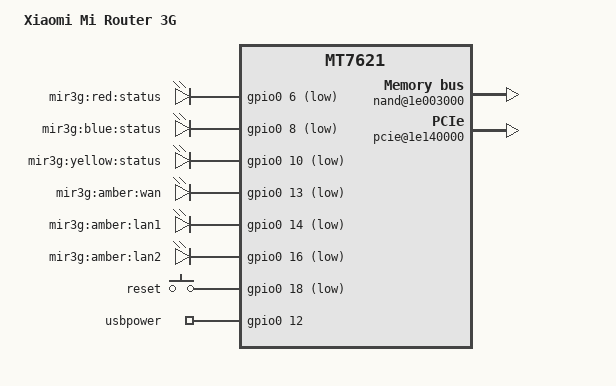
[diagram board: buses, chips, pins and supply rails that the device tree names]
/dts-v1/;

/include/ "mt7621.dtsi"

/ {
	compatible = "mir3g", "mediatek,mt7621-soc";
	model = "Xiaomi Mi Router 3G";

	palmbus@1E000000 {
		spi@b00 {
			status="disabled";
		};
	};

	chosen {
		bootargs = "console=ttyS0,115200";
	};

	nand@1e003000 {
		status = "okay";

		partition@0 {
			label = "Bootloader";
			reg = <0x0 0x80000>;
		};

		partition@80000 {
			label = "Config";
			reg = <0x80000 0x40000>;
		};

		partition@c0000 {
			label = "Bdata";
			reg = <0xc0000 0x40000>;
			read-only;
		};

		factory: partition@100000 {
			label = "factory";
			reg = <0x100000 0x40000>;
			read-only;
		};

		partition@140000 {
			label = "crash";
			reg = <0x140000 0x40000>;
		};

		partition@180000 {
			label = "crash_syslog";
			reg = <0x180000 0x40000>;
		};

		partition@1c0000 {
			label = "reserved0";
			reg = <0x1c0000 0x40000>;
			read-only;
		};


		/* uboot expects to find kernels at 0x200000 & 0x600000
		 * referred to as system 1 & system 2 respectively.
		 * a kernel is considered suitable for handing control over
		 * if its linux magic number exists & uImage CRC are correct.
		 * If either of those conditions fail, a matching sys'n'_fail flag
		 * is set in uboot env & a restart performed in the hope that the
		 * alternate kernel is okay.
		 * if neither kernel checksums ok and both are marked failed, system 2
		 * is booted anyway.
		 *
		 * Note uboot's tftp flash install writes the transferred
		 * image to both kernel partitions.
		 */

		partition@200000 {
			label = "kernel_stock";
			reg = <0x200000 0x400000>;
		};

		partition@600000 {
			label = "kernel";
			reg = <0x600000 0x400000>;
		};

		/* ubi partition is the result of squashing
		 * next consecutive stock partitions:
		 * - rootfs0 (rootfs partition for stock kernel0),
		 * - rootfs1 (rootfs partition for stock failsafe kernel1),
		 * - overlay (used as ubi overlay in stock fw)
		 * resulting 117,5MiB space for packages.
		 */

		partition@a00000 {
			label = "ubi";
			reg = <0xa00000 0x7580000>;
		};
	};

	pcie@1e140000 {
		status = "okay";

		pcie0 {
			mt76@0,0 {
				reg = <0x0000 0 0 0 0>;
				device_type = "pci";
				mediatek,mtd-eeprom = <&factory 0x0000>;
				mediatek,2ghz = <0>;
			};
		};

		pcie1 {
			mt76@1,0 {
				reg = <0x0000 0 0 0 0>;
				device_type = "pci";
				mediatek,mtd-eeprom = <&factory 0x8000>;
				mediatek,5ghz = <0>;
			};
		};
	};

	ethernet@1e100000 {
		mtd-mac-address = <&factory 0xe000>;
		mediatek,portmap = "lwlll";
	};	

	gpio-leds {
		compatible = "gpio-leds";

		led_status_red: status_red {
			label = "mir3g:red:status";
			gpios = <&gpio0 6 1>;
		};

		led_status_blue: status_blue {
			label = "mir3g:blue:status";
			gpios = <&gpio0 8 1>;
		};

		led_status_yellow: status_yellow {
			label = "mir3g:yellow:status";
			gpios = <&gpio0 10 1>;
		};

		wan_amber {
			label = "mir3g:amber:wan";
			gpios = <&gpio0 13 1>;
		};

		lan1_amber {
			label = "mir3g:amber:lan1";
			gpios = <&gpio0 14 1>;
		};

		lan2_amber {
			label = "mir3g:amber:lan2";
			gpios = <&gpio0 16 1>;
		};
	};

	gpio-keys-polled {
		compatible = "gpio-keys-polled";
		#address-cells = <1>;
		#size-cells = <0>;
		poll-interval = <20>;

		reset {
			label = "reset";
			gpios = <&gpio0 18 1>;
			linux,code = <0x198>;
		};
	};

	gpio_export {
		compatible = "gpio-export";
		#size-cells = <0>;

		usbpower {
			gpio-export,name = "usbpower";
			gpio-export,output = <1>;
			gpios = <&gpio0 12 0>;
		};
	};

	pinctrl {
		state_default: pinctrl0 {
			gpio {
				ralink,group = "jtag", "uart2", "uart3", "wdt";
				ralink,function = "gpio";
			};
		};
	};

};
